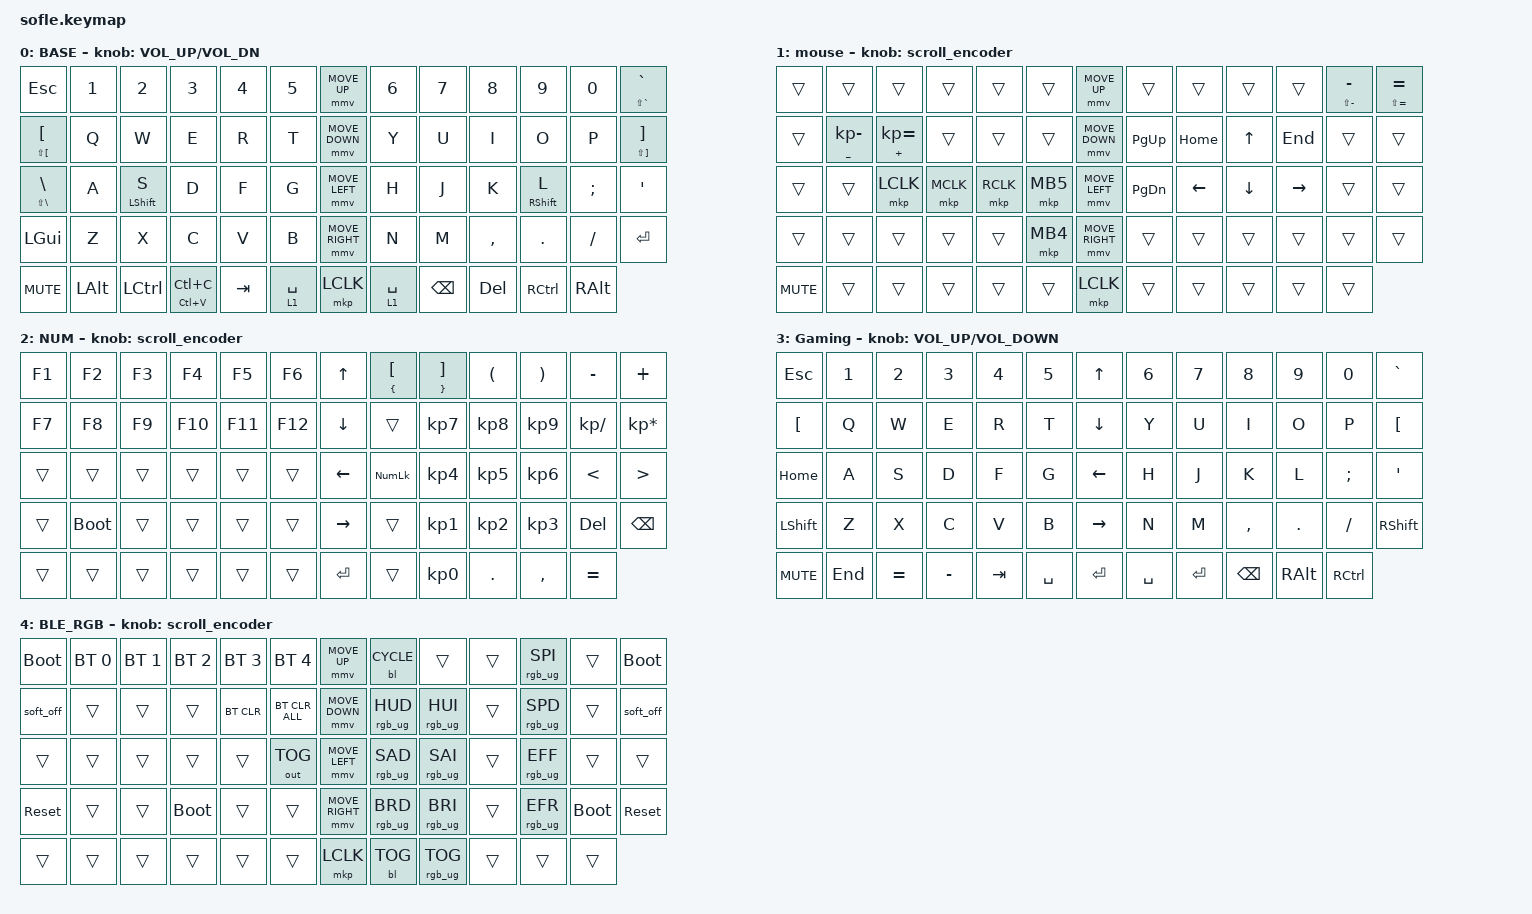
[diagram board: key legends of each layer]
#include <behaviors/mouse_keys.dtsi>
#include <dt-bindings/zmk/mouse.h>
#include <behaviors.dtsi>
#include <dt-bindings/zmk/backlight.h>
#include <dt-bindings/zmk/bt.h>
#include <dt-bindings/zmk/keys.h>
#include <dt-bindings/zmk/outputs.h>
#include <dt-bindings/zmk/rgb.h>

#define ZMK_MOUSE_DEFAULT_MOVE_VAL 1200  // 600
#define ZMK_MOUSE_DEFAULT_SCRL_VAL 20    // 10
#define U_MS_U &mmv MOVE_UP
#define U_MS_D &mmv MOVE_DOWN
#define U_MS_L &mmv MOVE_LEFT
#define U_MS_R &mmv MOVE_RIGHT
#define ZMK_MOUSE_DEFAULT_MOVE_VAL 1200  //  600
#define ZMK_MOUSE_DEFAULT_SCRL_VAL 20    // 10

&mt {
    tapping-term-ms = <200>;
    flavor = "balanced";
    hold-trigger-on-release;
    quick-tap-ms = <175>;
    hold-trigger-key-positions = <28 36>;
};

/ {
    behaviors {
        mmv {
            acceleration-exponent = <1>;      // 1
            time-to-max-speed-ms = <900>;    // 40
            delay-ms = <0>;                   // 0
        };

        msc {
            acceleration-exponent = <1>;      // 0
            time-to-max-speed-ms = <400>;      // 500
            delay-ms = <0>;                   //   10
        };
    };

    scroll_encoder: scroll_encoder {
        compatible = "zmk,behavior-sensor-rotate";
        #sensor-binding-cells = <0>;
        bindings = <&msc SCRL_DOWN>, <&msc SCRL_UP>;

        tap-ms = <30>;
    };

    combos {
        compatible = "zmk,combos";

        Enter {
            bindings = <&kp ENTER>;
            key-positions = <36 35>;
        };

        Backspace {
            bindings = <&kp BACKSPACE>;
            key-positions = <24 23>;
        };

        delete {
            bindings = <&kp DEL>;
            key-positions = <24 25>;
        };

        CAPs {
            bindings = <&kp CLCK>;
            key-positions = <26 27>;
        };

        ScreenShot {
            bindings = <&Screenshot>;
            key-positions = <40 41 42>;
        };

        NUM {
            bindings = <&to 2>;
            key-positions = <7 8 9>;
        };

        BLE_RGB {
            bindings = <&to 4>;
            key-positions = <5 4 3>;
        };

        Base {
            bindings = <&to 0>;
            key-positions = <33 34 35 36>;
        };

        gaming {
            bindings = <&to 3>;
            key-positions = <31 44 33 46>;
        };

        gamingenter {
            bindings = <&kp ENTER>;
            key-positions = <31 30>;
            layers = <3>;
        };

        tilde {
            bindings = <&kp TILDE>;
            key-positions = <0 1>;
            layers = <3>;
        };
    };

    macros {
        Screenshot: Screenshot {
            compatible = "zmk,behavior-macro";
            #binding-cells = <0>;
            bindings =
                <&macro_press>,
                <&kp LS(LEFT_GUI)>,
                <&macro_tap>,
                <&kp S>,
                <&macro_release>,
                <&kp LS(LEFT_GUI)>;

            label = "SCREENSHOT";
        };
    };

    keymap {
        compatible = "zmk,keymap";

        Base {
            bindings = <
&kp ESC                            &kp N1        &kp N2            &kp N3           &kp N4   &kp N5         &mmv MOVE_UP     &kp N6       &kp N7         &kp N8      &kp N9             &kp N0         &mt LS(GRAVE) GRAVE
&mt LS(LEFT_BRACKET) LEFT_BRACKET  &kp Q         &kp W             &kp E            &kp R    &kp T          &mmv MOVE_DOWN   &kp Y        &kp U          &kp I       &kp O              &kp P          &mt LS(RIGHT_BRACKET) RIGHT_BRACKET
&mt LS(BACKSLASH) BACKSLASH        &kp A         &mt LEFT_SHIFT S  &kp D            &kp F    &kp G          &mmv MOVE_LEFT   &kp H        &kp J          &kp K       &mt RIGHT_SHIFT L  &kp SEMI       &kp APOS
&kp LEFT_GUI                       &kp Z         &kp X             &kp C            &kp V    &kp B          &mmv MOVE_RIGHT  &kp N        &kp M          &kp COMMA   &kp DOT            &kp FSLH       &kp ENTER
&kp C_MUTE                         &kp LEFT_ALT  &kp LCTRL         &mt LC(V) LC(C)  &kp TAB  &lt 1 SPACE    &mkp LCLK        &lt 1 SPACE  &kp BACKSPACE  &kp DELETE  &kp RCTRL          &kp RIGHT_ALT
            >;

            sensor-bindings = <&inc_dec_kp C_VOLUME_UP C_VOL_DN>;
            display-name = "BASE";
            label = "Base";
        };

        mouse {
            bindings = <
&trans      &trans              &trans             &trans     &trans     &trans      &mmv MOVE_UP     &trans     &trans    &trans    &trans     &mt LS(MINUS) MINUS  &mt LS(EQUAL) EQUAL
&trans      &mt UNDER KP_MINUS  &mt PLUS KP_EQUAL  &trans     &trans     &trans      &mmv MOVE_DOWN   &kp PG_UP  &kp HOME  &kp UP    &kp END    &trans               &trans
&trans      &trans              &mkp LCLK          &mkp MCLK  &mkp RCLK  &mkp MB5    &mmv MOVE_LEFT   &kp PG_DN  &kp LEFT  &kp DOWN  &kp RIGHT  &trans               &trans
&trans      &trans              &trans             &trans     &trans     &mkp MB4    &mmv MOVE_RIGHT  &trans     &trans    &trans    &trans     &trans               &trans
&kp C_MUTE  &trans              &trans             &trans     &trans     &trans      &mkp LCLK        &trans     &trans    &trans    &trans     &trans
            >;

            display-name = "mouse";
            sensor-bindings = <&scroll_encoder>;
            label = "mouse";
        };

        NUM {
            bindings = <
&kp F1  &kp F2       &kp F3  &kp F4   &kp F5   &kp F6     &kp UP_ARROW    &mt LEFT_BRACE LEFT_BRACKET  &mt RIGHT_BRACE RIGHT_BRACKET  &kp LEFT_PARENTHESIS  &kp RIGHT_PARENTHESIS  &kp MINUS      &kp PLUS
&kp F7  &kp F8       &kp F9  &kp F10  &kp F11  &kp F12    &kp DOWN_ARROW  &trans                       &kp KP_NUMBER_7                &kp KP_NUMBER_8       &kp KP_NUMBER_9        &kp KP_DIVIDE  &kp KP_MULTIPLY
&trans  &trans       &trans  &trans   &trans   &trans     &kp LEFT_ARROW  &kp KP_NUMLOCK               &kp KP_NUMBER_4                &kp KP_NUMBER_5       &kp KP_NUMBER_6        &kp LESS_THAN  &kp GREATER_THAN
&trans  &bootloader  &trans  &trans   &trans   &trans     &kp RIGHT       &trans                       &kp KP_N1                      &kp KP_NUMBER_2       &kp KP_NUMBER_3        &kp DELETE     &kp BACKSPACE
&trans  &trans       &trans  &trans   &trans   &trans     &kp ENTER       &trans                       &kp KP_NUMBER_0                &kp PERIOD            &kp COMMA              &kp EQUAL
            >;

            display-name = "NUM";
            sensor-bindings = <&scroll_encoder>;
            label = "NUM";
        };

        Gaming {
            bindings = <
&kp ESC           &kp N1   &kp N2     &kp N3     &kp N4   &kp N5       &kp UP_ARROW     &kp N6     &kp N7     &kp N8         &kp N9         &kp N0     &kp GRAVE
&kp LEFT_BRACKET  &kp Q    &kp W      &kp E      &kp R    &kp T        &kp DOWN_ARROW   &kp Y      &kp U      &kp I          &kp O          &kp P      &kp LBKT
&kp HOME          &kp A    &kp S      &kp D      &kp F    &kp G        &kp LEFT_ARROW   &kp H      &kp J      &kp K          &kp L          &kp SEMI   &kp APOS
&kp LEFT_SHIFT    &kp Z    &kp X      &kp C      &kp V    &kp B        &kp RIGHT_ARROW  &kp N      &kp M      &kp COMMA      &kp DOT        &kp FSLH   &kp RIGHT_SHIFT
&kp K_MUTE        &kp END  &kp EQUAL  &kp MINUS  &kp TAB  &kp SPACE    &kp ENTER        &kp SPACE  &kp ENTER  &kp BACKSPACE  &kp RIGHT_ALT  &kp RCTRL
            >;

            sensor-bindings = <&inc_dec_kp C_VOLUME_UP C_VOLUME_DOWN>;
            display-name = "Gaming";
            label = "Gaming";
        };

        BLE_RGB {
            bindings = <
&bootloader  &bt BT_SEL 0  &bt BT_SEL 1  &bt BT_SEL 2  &bt BT_SEL 3  &bt BT_SEL 4      &mmv MOVE_UP     &bl BL_CYCLE     &trans           &trans  &rgb_ug RGB_SPI  &trans       &bootloader
&soft_off    &trans        &trans        &trans        &bt BT_CLR    &bt BT_CLR_ALL    &mmv MOVE_DOWN   &rgb_ug RGB_HUD  &rgb_ug RGB_HUI  &trans  &rgb_ug RGB_SPD  &trans       &soft_off
&trans       &trans        &trans        &trans        &trans        &out OUT_TOG      &mmv MOVE_LEFT   &rgb_ug RGB_SAD  &rgb_ug RGB_SAI  &trans  &rgb_ug RGB_EFF  &trans       &trans
&sys_reset   &trans        &trans        &bootloader   &trans        &trans            &mmv MOVE_RIGHT  &rgb_ug RGB_BRD  &rgb_ug RGB_BRI  &trans  &rgb_ug RGB_EFR  &bootloader  &sys_reset
&trans       &trans        &trans        &trans        &trans        &trans            &mkp LCLK        &bl BL_TOG       &rgb_ug RGB_TOG  &trans  &trans           &trans
            >;

            sensor-bindings = <&scroll_encoder>;
            display-name = "BLE_RGB";
            label = "BLE_RGB";
        };
    };
};
